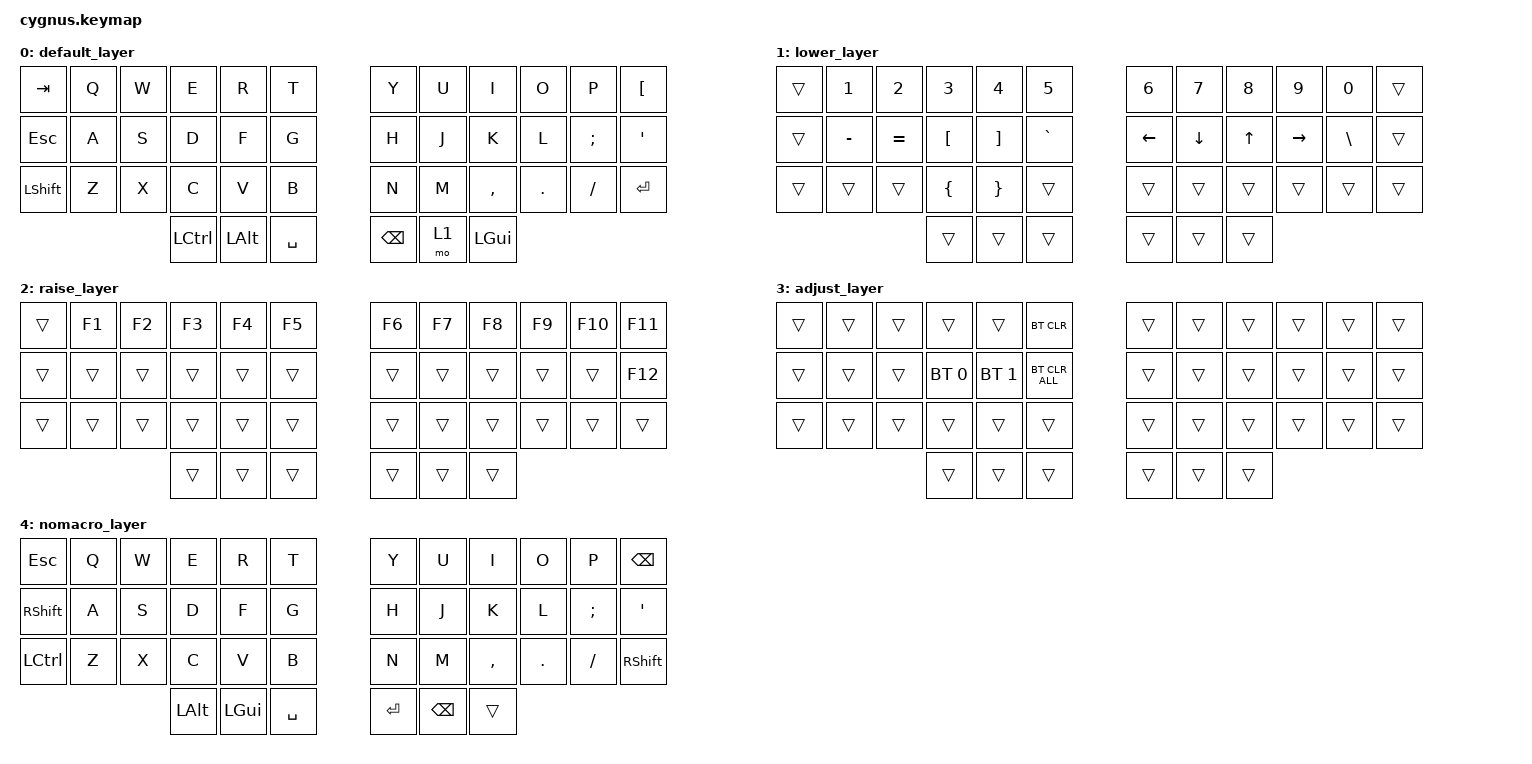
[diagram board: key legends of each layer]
#include <behaviors.dtsi>
#include <dt-bindings/zmk/bt.h>
#include <dt-bindings/zmk/keys.h>

&mt {
    tapping-term-ms = <280>;
    quick-tap-ms = <180>;
    require-prior-idle-ms = <150>;
    flavor = "balanced";
};

/ {
    combos {
        compatible = "zmk,combos";

        layer3 {
            bindings = <&mo 2>;
            key-positions = <13 14 15 16>;
        };

        fs {
            bindings = <&mo 2>;
            key-positions = <19 20 22 21>;
        };

        bt {
            bindings = <&mo 3>;
            key-positions = <31 32 33 34>;
        };

        macLang {
            bindings = <&kp LC(SPACE)>;
            key-positions = <25 26 27 28>;
        };
    };

    keymap {
        compatible = "zmk,keymap";

        default_layer {
            // -----------------------------------------------------------------------------------------
            // |  TAB |  Q  |  W  |  E  |  R  |  T  |   |  Y  |  U   |  I  |  O  |  P  | BSPC |
            // | CTRL |  A  |  S  |  D  |  F  |  G  |   |  H  |  J   |  K  |  L  |  ;  |  '   |
            // | SHFT |  Z  |  X  |  C  |  V  |  B  |   |  N  |  M   |  ,  |  .  |  /  | ESC  |
            //                    | GUI | LWR | SPC |   | ENT | RSE  | ALT |

            bindings = <
&kp TAB         &kp Q  &kp W  &kp E             &kp R         &kp T        &kp Y          &kp U  &kp I         &kp O    &kp P          &kp LEFT_BRACKET
&kp ESCAPE      &kp A  &kp S  &kp D             &kp F         &kp G        &kp H          &kp J  &kp K         &kp L    &kp SEMICOLON  &kp APOS
&kp LEFT_SHIFT  &kp Z  &kp X  &kp C             &kp V         &kp B        &kp N          &kp M  &kp COMMA     &kp DOT  &kp FSLH       &kp ENTER
                              &kp LEFT_CONTROL  &kp LEFT_ALT  &kp SPACE    &kp BACKSPACE  &mo 1  &kp LEFT_GUI
            >;
        };

        lower_layer {
            // -----------------------------------------------------------------------------------------
            // |  TAB |  1  |  2  |  3  |  4  |  5  |   |  6  |  7  |  8  |  9  |  0  | BSPC |
            // | BTCLR| BT1 | BT2 | BT3 | BT4 | BT5 |   | LFT | DWN |  UP | RGT |     |      |
            // | SHFT |     |     |     |     |     |   |     |     |     |     |     |      |
            //                    | GUI |     | SPC |   | ENT |     | ALT |

            bindings = <
&trans  &kp NUMBER_1  &kp NUMBER_2  &kp NUMBER_3      &kp NUMBER_4       &kp NUMBER_5    &kp NUMBER_6  &kp NUMBER_7  &kp NUMBER_8  &kp NUMBER_9  &kp NUMBER_0   &trans
&trans  &kp MINUS     &kp EQUAL     &kp LEFT_BRACKET  &kp RIGHT_BRACKET  &kp GRAVE       &kp LEFT      &kp DOWN      &kp UP        &kp RIGHT     &kp BACKSLASH  &trans
&trans  &trans        &trans        &kp LEFT_BRACE    &kp RIGHT_BRACE    &trans          &trans        &trans        &trans        &trans        &trans         &trans
                                    &trans            &trans             &trans          &trans        &trans        &trans
            >;
        };

        raise_layer {
            // -----------------------------------------------------------------------------------------
            // |  TAB |  !  |  @  |  #  |  $  |  %  |   |  ^  |  &  |  *  |  (  |  )  | BSPC |
            // | CTRL |     |     |     |     |     |   |  -  |  =  |  [  |  ]  |  \  |  `   |
            // | SHFT |     |     |     |     |     |   |  _  |  +  |  {  |  }  | "|" |  ~   |
            //                    | GUI |     | SPC |   | ENT |     | ALT |

            bindings = <
&trans  &kp F1  &kp F2  &kp F3  &kp F4  &kp F5    &kp F6  &kp F7  &kp F8  &kp F9  &kp F10  &kp F11
&trans  &trans  &trans  &trans  &trans  &trans    &trans  &trans  &trans  &trans  &trans   &kp F12
&trans  &trans  &trans  &trans  &trans  &trans    &trans  &trans  &trans  &trans  &trans   &trans
                        &trans  &trans  &trans    &trans  &trans  &trans
            >;
        };

        adjust_layer {
            bindings = <
&trans  &trans  &trans  &trans        &trans        &bt BT_CLR        &trans  &trans  &trans  &trans  &trans  &trans
&trans  &trans  &trans  &bt BT_SEL 0  &bt BT_SEL 1  &bt BT_CLR_ALL    &trans  &trans  &trans  &trans  &trans  &trans
&trans  &trans  &trans  &trans        &trans        &trans            &trans  &trans  &trans  &trans  &trans  &trans
                        &trans        &trans        &trans            &trans  &trans  &trans
            >;
        };

        nomacro_layer {
            bindings = <
&kp ESC    &kp Q  &kp W  &kp E     &kp R     &kp T        &kp Y    &kp U     &kp I      &kp O    &kp P     &kp BSPC
&kp RSHFT  &kp A  &kp S  &kp D     &kp F     &kp G        &kp H    &kp J     &kp K      &kp L    &kp SEMI  &kp APOS
&kp LCTRL  &kp Z  &kp X  &kp C     &kp V     &kp B        &kp N    &kp M     &kp COMMA  &kp DOT  &kp FSLH  &kp RSHFT
                         &kp LALT  &kp LGUI  &kp SPACE    &kp RET  &kp BSPC  &trans
            >;
        };
    };
};
